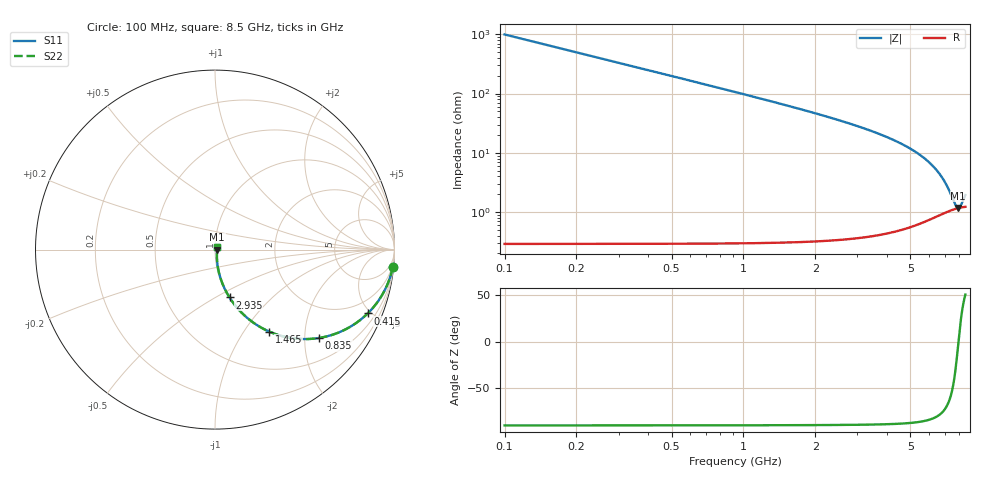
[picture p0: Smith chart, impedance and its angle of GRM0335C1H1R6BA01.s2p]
!Murata Part Number: GRM0335C1H1R6BA01
!These Parameters are Measured in Series Mode Connection
!Data Generated on Mar 30, 2021
!  o--ll--o
!Port1  Port2
!  o------o
!Operation Temp=25[degC], DC Bias Voltage=0[V]
!Freq. Start=100[MHz] Stop=9[GHz] 401[Steps]
# Hz S RI R 50
!Freq.(Hz) S11(Real) S11(Imag) S21(Real) S21(Imag) S12(Real) S12(Imag) S22(Real) S22(Imag)
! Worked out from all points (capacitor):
!   401 points, 100 MHz to 8.5 GHz, reference 50 ohm
!   read as one part in series: C = 1.6 pF near 142 MHz
!   lowest |Z| = 1.17 ohm at 7.933 GHz (marker M1)
!   series resonance near 7.949 GHz, so ESL is about 250 pH
!   S11 on the Smith chart (normalised r, x): 100 MHz: 1, -20; 415 MHz: 1.01, -4.78; 835 MHz: 1.01, -2.36; 1.465 GHz: 1.01, -1.31; 2.935 GHz: 1.01, -0.58; 8.5 GHz: 1.02, +0.03
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1e8  0.99 -0.0995  0.01 0.0995  0.01 0.0995  0.99 -0.0995
1.84e8  0.9668 -0.1789  0.0332 0.1789  0.0332 0.1789  0.9668 -0.1789
2.47e8  0.9417 -0.234  0.0583 0.234  0.0583 0.234  0.9417 -0.234
3.31e8  0.8998 -0.2998  0.1002 0.2998  0.1002 0.2998  0.8998 -0.2998
4.15e8  0.8507 -0.3557  0.1493 0.3557  0.1493 0.3557  0.8507 -0.3557
6.04e8  0.7279 -0.4441  0.2721 0.4441  0.2721 0.4441  0.7279 -0.4441
8.35e8  0.5809 -0.4922  0.4191 0.4922  0.4191 0.4922  0.5809 -0.4922
1.15e9  0.4176 -0.4914  0.5824 0.4914  0.5824 0.4914  0.4176 -0.4914
1.465e9  0.3012 -0.4565  0.6988 0.4565  0.6988 0.4565  0.3012 -0.4565
1.507e9  0.2886 -0.4507  0.7114 0.4507  0.7114 0.4507  0.2886 -0.4507
2.116e9  0.1614 -0.3642  0.8386 0.3642  0.8386 0.3642  0.1614 -0.3642
2.914e9  0.0823 -0.2688  0.9177 0.2688  0.9177 0.2688  0.0823 -0.2688
2.935e9  0.0809 -0.2666  0.9191 0.2666  0.9191 0.2666  0.0809 -0.2666
4.3e9  0.0296 -0.1557  0.9704 0.1557  0.9704 0.1557  0.0296 -0.1557
5.707e9  0.0132 -0.0799  0.9868 0.0799  0.9868 0.0799  0.0132 -0.0799
6.505e9  0.0107 -0.0469  0.9893 0.0469  0.9893 0.0469  0.0107 -0.0469
7.114e9  0.0106 -0.0254  0.9894 0.0254  0.9894 0.0254  0.0106 -0.0254
7.702e9  0.0112 -0.00707  0.9888 0.00707  0.9888 0.00707  0.0112 -0.00707
7.828e9  0.0114 -0.00343  0.9886 0.00343  0.9886 0.00343  0.0114 -0.00343
7.933e9  0.0115 -0.000459  0.9885 0.000459  0.9885 0.000459  0.0115 -0.000459
8.122e9  0.0118 0.00475  0.9882 -0.00475  0.9882 -0.00475  0.0118 0.00475
8.5e9  0.0123 0.0147  0.9877 -0.0147  0.9877 -0.0147  0.0123 0.0147
